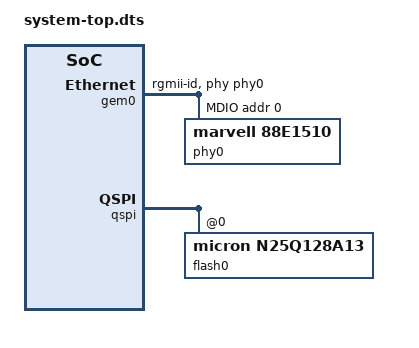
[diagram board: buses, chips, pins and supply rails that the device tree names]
/dts-v1/;
/include/ "system-conf.dtsi"
/ {
};

	&gem0 {
		phy-handle = <&phy0>;
		phy-mode = "rgmii-id";
		
		mdio {
			#address-cells = <1>;
			#size-cells = <0>;
			phy0: phy@0 {
				compatible = "marvell,88e1510";
				device_type = "ethernet-phy";
				reg = <0x0>;
				marvell,reg-init = <3 16 0xff00 0x1e 3 17 0xfff0 0x00>;
			};
		};
	};

	&qspi {
		flash0: flash@0 {
	       	       compatible = "micron,n25q128a13";
		};
	};

	&uart_stm {
    		interrupt-parent = <&intc>;
    		interrupts = <0 35 1>;
     		device_type = "serial";
	};


